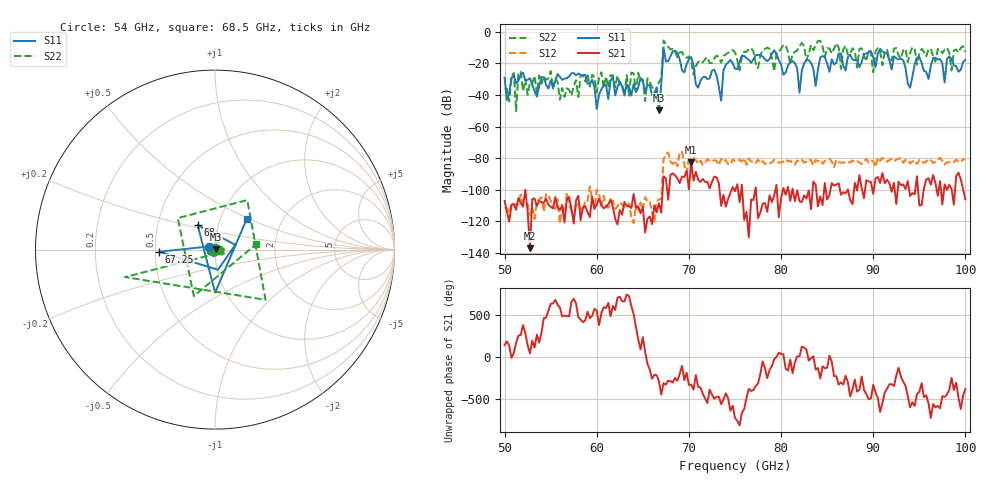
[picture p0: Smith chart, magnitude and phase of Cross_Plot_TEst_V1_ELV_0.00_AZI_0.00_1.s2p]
! 11/25/2026 1:17:08 PM
! C:\ANRITSUVNA\TEMP\TEMP.S2P
! CHANNEL.1
! TR.MEASUREMENT
! RAW.DATA
# HZ S RI R 50.0
! FREQ.HZ  S11RE  S11IM  S21RE  S21IM  S12RE  S12IM  S22RE  S22IM
!; PortSelection: Port_12
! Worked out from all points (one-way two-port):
!   201 points, 50 GHz to 100 GHz, reference 50 ohm
!   highest |S21| = -82.58 dB at 70.25 GHz (marker M1); lowest = -137.0 dB at 52.75 GHz (marker M2)
!   lowest |S11| = -49.8 dB at 66.75 GHz (marker M3), VSWR 1.01, Z = 50.3 + j0.0705 ohm
!   |S11| at or under -10 dB: start of sweep to end of sweep
!   |S22| runs from -50.4 to -5.6 dB; largest |S21 - S12| = 0.00018
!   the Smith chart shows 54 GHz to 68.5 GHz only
!   S11 on the Smith chart (normalised r, x): 54 GHz: 0.93, +0.03; 67.25 GHz: 0.53, -0.01; 68 GHz: 0.80, +0.22; 68.5 GHz: 1.33, +0.49
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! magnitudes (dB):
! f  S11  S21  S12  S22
! 50 GHz  -29.1  -107.0  -111.5  -35.8
! 51 GHz  -27.9  -109.1  -109.2  -26.2
! 51.25 GHz  -32.6  -112.6  -109.3  -50.4
! 51.5 GHz  -31.2  -105.1  -108.6  -25.7
! 52.75 GHz  -29.5  -137.0  -115.9  -32.0
! 54 GHz  -28.7  -107.7  -104.6  -32.9
! 58.5 GHz  -27.7  -111.0  -113.7  -27.7
! 60 GHz  -48.8  -109.4  -100.0  -38.6
! 61.75 GHz  -28.4  -111.0  -106.8  -27.7
! 66.75 GHz  -49.8  -108.5  -105.8  -31.9
! 67.25 GHz  -10.2  -91.4  -80.9  -5.6
! 68 GHz  -15.5  -90.6  -82.1  -11.3
! 68.5 GHz  -12.1  -90.9  -81.5  -12.7
! 70.25 GHz  -16.1  -82.6  -80.3  -19.1
! 73.5 GHz  -43.7  -110.2  -80.3  -19.7
! 73.75 GHz  -24.3  -103.1  -82.2  -15.4
! 75 GHz  -23.5  -100.9  -81.8  -13.0
! 83.5 GHz  -23.4  -94.8  -84.4  -11.8
! 91.75 GHz  -18.1  -95.8  -81.3  -17.6
! 94 GHz  -35.5  -103.9  -83.3  -13.7
! 94.75 GHz  -16.4  -91.4  -83.7  -21.0
! 100 GHz  -17.9  -106.0  -80.8  -12.9
